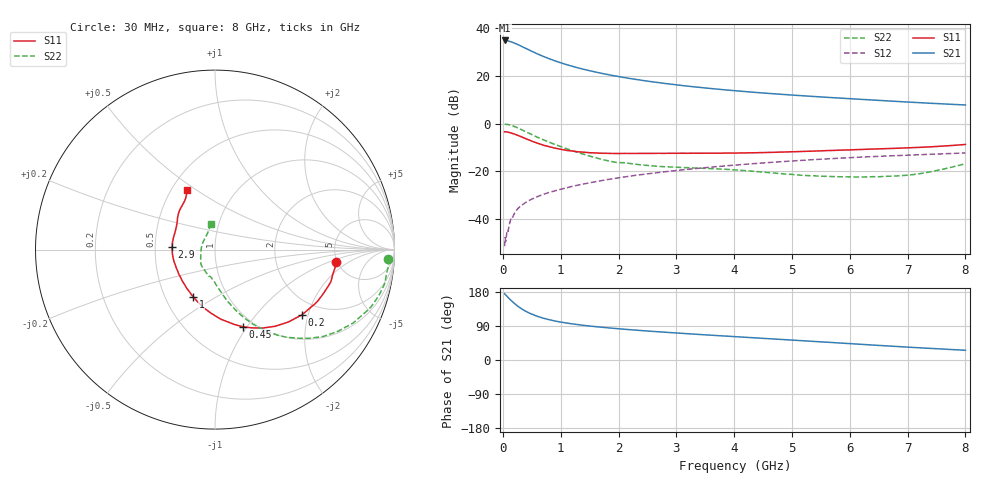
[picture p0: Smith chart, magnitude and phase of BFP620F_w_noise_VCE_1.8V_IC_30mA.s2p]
! Infineon Technologies  Discrete & RF Semiconductors
! BFP620F
! VCE =  1.8 V,  IC =  30 mA
! Common Emitter S-Parameters:  Dec 2014
# GHz  S  MA  R  50
!  f  S11  S21  S12  S22
! GHz  MAG  ANG  MAG  ANG  MAG  ANG  MAG  ANG
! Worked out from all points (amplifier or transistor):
!   95 points, 30 MHz to 8 GHz, reference 50 ohm
!   highest |S21| = 34.9 dB at 30 MHz (marker M1)
!   |S21| within 3 dB of that: start of sweep to 368.3 MHz
!   unconditionally stable (mu >= 1): 2.477 GHz to end of sweep
!   at 300 MHz: K = 0.37, MSG = 33.7 dB, |S12| = -34.7 dB
!   at 3.3 GHz: K = 1.02, MAG = 16.3 dB, |S12| = -18.9 dB
!   at 8 GHz: K = 1.06, MAG = 8.6 dB, |S12| = -12.3 dB
!   lowest NFmin = 1.13 dB at 450 MHz
!   S11 on the Smith chart (normalised r, x): 30 MHz: 4.87, -1.23; 200 MHz: 1.59, -1.83; 450 MHz: 0.88, -0.96; 1 GHz: 0.69, -0.40; 2.9 GHz: 0.61, +0.02; 8 GHz: 0.60, +0.46
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0.03  0.6773 -5.8  55.66 175.0  0.0027 80.9  0.967 -3.1
0.07  0.6702 -13.7  55.06 168.4  0.0053 80.0  0.9648 -9.6
0.11  0.6537 -21.2  53.51 161.9  0.0075 80.0  0.9484 -15.7
0.15  0.6339 -28.4  51.72 156.1  0.0098 80.2  0.9173 -21.4
0.2  0.6056 -36.9  48.96 149.3  0.0132 75.3  0.8721 -27.9
0.25  0.5739 -44.7  46.14 143.0  0.0161 73.3  0.8226 -33.6
0.3  0.5429 -51.9  43.27 137.5  0.0185 71.5  0.7727 -38.8
0.35  0.5117 -58.6  40.37 132.6  0.0204 68.7  0.7219 -43.2
0.45  0.457 -70.2  35.28 124.4  0.0244 66.6  0.6323 -50.6
0.5  0.4307 -75.5  33 121.0  0.0262 66.1  0.5914 -53.8
0.6  0.3888 -85.3  29.01 115.1  0.0296 64.9  0.519 -59.0
0.7  0.355 -93.6  25.77 110.3  0.033 64.4  0.4605 -63.5
0.8  0.3291 -101.3  23.05 106.4  0.0362 64.6  0.4102 -67.1
1  0.2909 -114.7  18.94 100.1  0.0421 64.0  0.3319 -73.1
1.4  0.2523 -136.5  13.81 91.4  0.0545 63.6  0.2282 -83.3
1.9  0.2375 -157.0  10.25 83.8  0.0701 62.8  0.1589 -97.0
2.7  0.239 -178.8  7.245 74.4  0.0948 59.5  0.1271 -118.0
2.9  0.2394 177.0  6.751 72.3  0.1012 58.6  0.1234 -122.0
4.1  0.2432 156.3  4.815 60.8  0.1379 52.1  0.1056 -138.6
5.4  0.2669 141.8  3.706 48.8  0.1771 43.6  0.0806 -168.1
6.7  0.3019 128.6  2.985 36.7  0.2114 34.4  0.0791 146.7
8  0.3664 115.3  2.468 25.6  0.2428 25.4  0.1441 99.2
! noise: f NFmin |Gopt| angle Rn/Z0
0.45  1.13  0.05  -172  0.18
0.9  1.16  0.05  -171  0.14
1.5  1.18  0.12  -148  0.15
1.8  1.19  0.12  -147  0.16
1.9  1.19  0.12  -146  0.16
2.4  1.21  0.12  -146  0.17
3.5  1.27  0.14  -141  0.18
5.5  1.42  0.21  241  0.13
6  1.47  0.22  260  0.16
